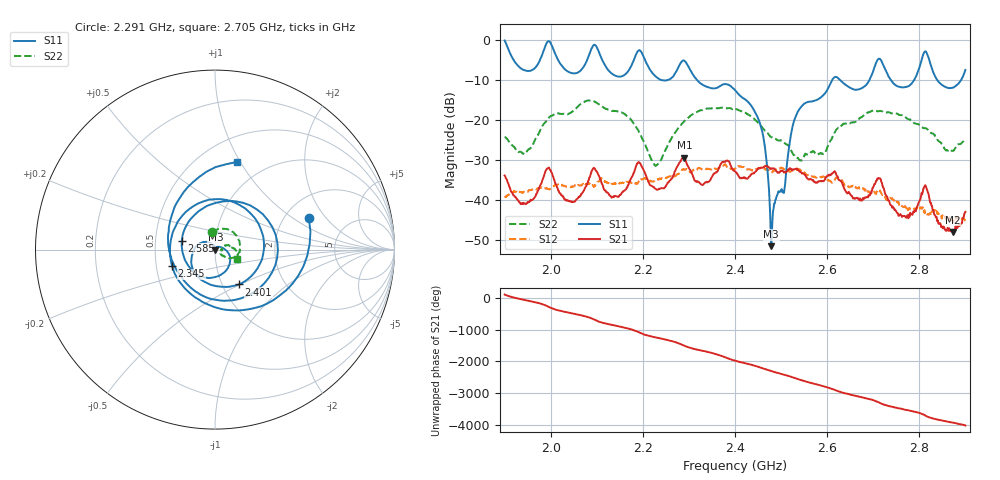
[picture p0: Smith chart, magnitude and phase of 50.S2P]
! C:\Users\rflab\Downloads\Lab5_KD_ZW\50.S2P
! Touchstone 1.1 file saved by VNA.EXE V1.65 (www.ke5fx.com/gpib/readme.htm)
! 11/11/2024 11:40:04 PM
!  Source: HEWLETT PACKARD,8753D,0,6.14
!  Min freq: 1.900000E+009 Hz
!  Max freq: 2.900000E+009 Hz
!  Points: 801
!  Params: S11 S21 S12 S22
# GHZ S RI R 50
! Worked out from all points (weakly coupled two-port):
!   801 points, 1.9 GHz to 2.9 GHz, reference 50 ohm
!   highest |S21| = -29.30 dB at 2.29 GHz (marker M1); lowest = -47.9 dB at 2.873 GHz (marker M2)
!   lowest |S11| = -51.5 dB at 2.479 GHz (marker M3), VSWR 1.01, Z = 50.3 + j0.0158 ohm
!   |S11| at or under -10 dB: 2.318 GHz to 2.61 GHz (291.9 MHz wide, 11.8 % of centre); 2.629 GHz to 2.691 GHz (62.34 MHz wide, 2.34 % of centre); 2.84 GHz to 2.89 GHz (50.62 MHz wide, 1.77 % of centre) (the widest 3 of 5)
!   |S22| runs from -31.4 to -15.0 dB; largest |S21 - S12| = 0.013
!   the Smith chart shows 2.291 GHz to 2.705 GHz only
!   S11 on the Smith chart (normalised r, x): 2.291 GHz: 2.70, +1.35; 2.345 GHz: 0.61, -0.12; 2.401 GHz: 1.20, -0.49; 2.585 GHz: 0.69, +0.07; 2.705 GHz: 0.74, +0.97
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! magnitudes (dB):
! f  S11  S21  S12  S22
! 1.9 GHz  0.0  -33.8  -39.3  -24.2
! 1.944 GHz  -7.5  -40.8  -37.9  -28.3
! 1.994 GHz  -0.3  -32.0  -37.1  -19.7
! 2.067 GHz  -7.2  -38.4  -36.1  -15.8
! 2.191 GHz  -2.5  -30.4  -35.2  -22.8
! 2.234 GHz  -9.5  -37.3  -34.9  -30.8
! 2.29 GHz  -5.1  -29.3  -32.2  -20.2
! 2.291 GHz  -5.2  -29.6  -32.3  -20.0
! 2.345 GHz  -11.8  -35.1  -32.2  -17.0
! 2.4 GHz  -12.4  -32.7  -32.0  -17.2
! 2.401 GHz  -12.6  -32.8  -32.0  -17.2
! 2.456 GHz  -21.5  -31.9  -31.8  -21.4
! 2.479 GHz  -51.5  -32.1  -32.9  -24.2
! 2.53 GHz  -19.5  -32.2  -32.5  -29.0
! 2.567 GHz  -15.2  -34.9  -34.0  -27.7
! 2.585 GHz  -14.4  -35.2  -34.1  -28.3
! 2.705 GHz  -6.0  -35.6  -38.3  -17.6
! 2.734 GHz  -9.1  -40.0  -39.7  -18.0
! 2.774 GHz  -11.5  -43.7  -41.8  -19.6
! 2.814 GHz  -2.8  -36.4  -43.2  -22.0
! 2.873 GHz  -11.8  -47.9  -45.3  -27.7
! 2.9 GHz  -7.4  -42.9  -44.3  -24.7
